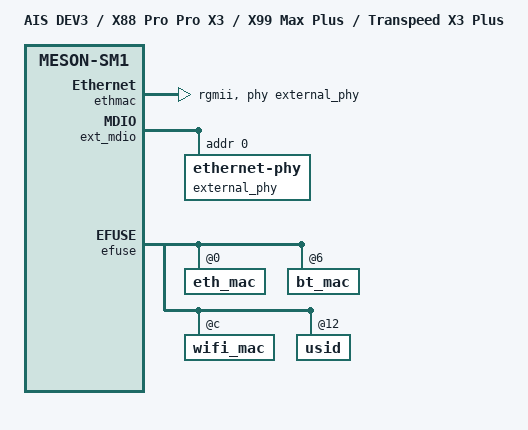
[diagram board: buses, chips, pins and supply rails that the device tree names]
// SPDX-License-Identifier: (GPL-2.0+ OR MIT)
/*
 * Copyright (c) 2023 AI-Speaker.com. All rights reserved.
 */

/dts-v1/;

#include "meson-sm1-ac2xx.dtsi"
#include <dt-bindings/sound/meson-g12a-tohdmitx.h>

/ {
	compatible = "ai-speaker.com,dev3\0amlogic,sm1";
	model = "AIS DEV3 / X88 Pro Pro X3 / X99 Max Plus / Transpeed X3 Plus";

	fd655_dev {
		dat_pin = <0x18 0x40 0x00>;
		dev_name = "fd655_dev";
		status = "okay";
		clk_pin = <0x18 0x41 0x00>;
		compatible = "amlogic,fd655_dev";
	};

	openvfd {
		compatible = "open,vfd";
		dev_name = "openvfd";
		status = "okay";
	};
};


&ethmac {
	status = "okay";
	pinctrl-0 = <&eth_pins>, <&eth_rgmii_pins>;
	pinctrl-names = "default";
	phy-handle = <&external_phy>;
	phy-mode = "rgmii";
	amlogic,tx-delay-ns = <2>;
	snps,aal;
	snps,rxpbl = <0x8>;
	snps,txpbl = <0x8>;
	rx-fifo-depth = <4096>;
	tx-fifo-depth = <4096>;
	nvmem-cells = <&eth_mac>;
	nvmem-cell-names = "eth_mac";
};

&ext_mdio {
	external_phy: ethernet-phy@0 {
		/* Realtek RTL8211F */
		reg = <0>;
		max-speed = <1000>;
		reset-assert-us = <10000>;
		reset-deassert-us = <80000>;
        reset-gpios = <0x2a 0x0f 0x07>;
		interrupt-parent = <0x01>;
		interrupts = <26 IRQ_TYPE_LEVEL_LOW>;
	};
};

&efuse {
	eth_mac: eth_mac@0 {
		reg = <0x0 0x06>;
	};

	bt_mac: bt_mac@6 {
		reg = <0x6 0x06>;
	};

	wifi_mac: wifi_mac@12 {
		reg = <0x0c 0x06>;
	};

	usid: usid@18 {
		reg = <0x12 0x10>;
	};
};

// set max cpu speed
&cpu_opp_table {

	opp-2016000000 {
		status = "disabled";
	};

	opp-2100000000 {
		status = "disabled";
	};
};
